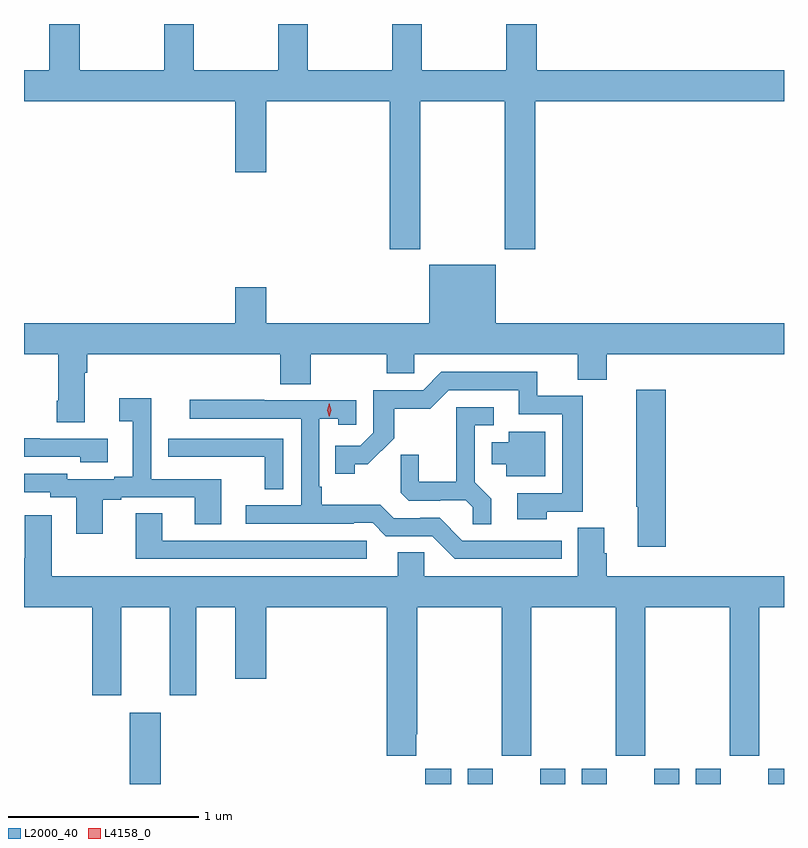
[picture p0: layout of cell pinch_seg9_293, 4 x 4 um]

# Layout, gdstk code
import gdstk
lib = gdstk.Library(unit=1e-6, precision=1e-09)
def R(c, l, rs):  # rectangles x0, y0, x1, y1
    for r in rs: c.add(gdstk.rectangle(r[:2], r[2:], *l))
def P(c, l, *ps):  # polygons
    for p in ps: c.add(gdstk.Polygon(p, *l))
L2000_40 = (2000, 40)
L4158_0 = (4158, 0)

pinch_seg9_293 = lib.new_cell('pinch_seg9_293')
R(pinch_seg9_293, L2000_40, [(512.105,1198.155,512.269,1198.531), (513.659,1198.155,513.796,1198.234), (513.884,1198.155,514.015,1198.234), (514.265,1198.155,514.396,1198.234), (514.484,1198.155,514.615,1198.234), (514.865,1198.155,514.996,1198.234), (515.084,1198.155,515.215,1198.234), (515.465,1198.155,515.548,1198.234)])
P(pinch_seg9_293, L2000_40, [(513.633,1201.748),(514.078,1201.748),(514.078,1200.969),(514.238,1200.969),(514.238,1201.748),(515.548,1201.748),(515.548,1201.912),(514.246,1201.912),(514.246,1202.155),(514.087,1202.155),(514.087,1201.912),(513.642,1201.912),(513.642,1202.155),(513.487,1202.155),(513.487,1201.912),(513.042,1201.912),(513.042,1202.155),(512.887,1202.155),(512.887,1201.912),(512.442,1201.912),(512.442,1202.155),(512.287,1202.155),(512.287,1201.912),(511.842,1201.912),(511.842,1202.155),(511.682,1202.155),(511.682,1201.912),(511.548,1201.912),(511.548,1201.748),(512.66,1201.748),(512.66,1201.374),(512.824,1201.374),(512.824,1201.748),(513.472,1201.748),(513.472,1200.969),(513.633,1200.969)],
  [(511.548,1200.416),(511.727,1200.416),(511.727,1200.172),(511.72,1200.172),(511.72,1200.06),(511.867,1200.06),(511.867,1200.32),(511.88,1200.32),(511.88,1200.416),(512.897,1200.416),(512.897,1200.259),(513.057,1200.259),(513.057,1200.416),(513.457,1200.416),(513.457,1200.318),(513.603,1200.318),(513.603,1200.416),(514.463,1200.416),(514.463,1200.283),(514.616,1200.283),(514.616,1200.416),(515.548,1200.416),(515.548,1200.58),(514.03,1200.58),(514.03,1200.889),(513.68,1200.889),(513.68,1200.58),(512.824,1200.58),(512.824,1200.769),(512.66,1200.769),(512.66,1200.58),(511.548,1200.58)],
  [(514.299,1199.589),(514.489,1199.589),(514.489,1200.198),(514.25,1200.198),(514.25,1200.324),(513.744,1200.324),(513.648,1200.228),(513.387,1200.228),(513.387,1200.003),(513.318,1199.934),(513.187,1199.934),(513.187,1199.787),(513.288,1199.787),(513.288,1199.837),(513.358,1199.837),(513.496,1199.974),(513.496,1200.13),(513.685,1200.13),(513.783,1200.228),(514.151,1200.228),(514.151,1200.102),(514.38,1200.102),(514.38,1199.685),(514.143,1199.685),(514.143,1199.549),(514.299,1199.549)],
  [(514.925,1200.229),(514.77,1200.229),(514.77,1199.615),(514.778,1199.615),(514.778,1199.403),(514.925,1199.403)],
  [(511.963,1199.652),(512.059,1199.652),(512.059,1199.664),(512.447,1199.664),(512.447,1199.521),(512.587,1199.521),(512.587,1199.76),(512.217,1199.76),(512.217,1200.184),(512.049,1200.184),(512.049,1200.064),(512.12,1200.064),(512.12,1199.773),(512.024,1199.773),(512.024,1199.76),(511.776,1199.76),(511.776,1199.787),(511.548,1199.787),(511.548,1199.691),(511.686,1199.691),(511.686,1199.664),(511.823,1199.664),(511.823,1199.472),(511.963,1199.472)],
  [(514.378,1199.436),(513.855,1199.436),(513.735,1199.556),(513.634,1199.556),(513.634,1199.553),(513.495,1199.553),(513.422,1199.626),(513.115,1199.626),(513.115,1199.719),(513.102,1199.719),(513.102,1200.077),(513.201,1200.077),(513.201,1200.045),(513.297,1200.045),(513.297,1200.174),(512.813,1200.174),(512.813,1200.177),(512.421,1200.177),(512.421,1200.078),(513.006,1200.078),(513.006,1199.622),(512.715,1199.622),(512.715,1199.526),(513.284,1199.526),(513.284,1199.529),(513.384,1199.529),(513.453,1199.46),(513.696,1199.46),(513.816,1199.34),(514.378,1199.34)],
  [(514.007,1199.657),(513.921,1199.743),(513.921,1200.042),(514.02,1200.042),(514.02,1200.138),(513.824,1200.138),(513.824,1199.746),(513.626,1199.746),(513.626,1199.889),(513.532,1199.889),(513.532,1199.687),(513.573,1199.646),(513.738,1199.646),(513.738,1199.649),(513.872,1199.649),(513.909,1199.612),(513.909,1199.521),(514.007,1199.521)],
  [(514.291,1200.01),(514.1,1200.01),(514.1,1199.953),(514.01,1199.953),(514.01,1199.837),(514.085,1199.837),(514.085,1199.774),(514.291,1199.774)],
  [(511.99,1199.973),(511.631,1199.973),(511.631,1199.976),(511.548,1199.976),(511.548,1199.877),(511.845,1199.877),(511.845,1199.849),(511.99,1199.849)],
  [(512.913,1199.973),(512.307,1199.973),(512.307,1199.878),(512.419,1199.878),(512.419,1199.877),(512.815,1199.877),(512.815,1199.707),(512.913,1199.707)],
  [(513.352,1199.436),(512.275,1199.436),(512.275,1199.579),(512.135,1199.579),(512.135,1199.34),(513.352,1199.34)],
  [(513.613,1198.417),(513.618,1198.417),(513.618,1199.084),(514.063,1199.084),(514.063,1198.305),(514.218,1198.305),(514.218,1199.084),(514.663,1199.084),(514.663,1198.305),(514.818,1198.305),(514.818,1199.084),(515.263,1199.084),(515.263,1198.305),(515.418,1198.305),(515.418,1199.084),(515.548,1199.084),(515.548,1199.248),(514.616,1199.248),(514.616,1199.37),(514.603,1199.37),(514.603,1199.504),(514.463,1199.504),(514.463,1199.248),(513.654,1199.248),(513.654,1199.375),(513.515,1199.375),(513.515,1199.248),(511.693,1199.248),(511.693,1199.569),(511.553,1199.569),(511.553,1199.344),(511.548,1199.344),(511.548,1199.084),(511.907,1199.084),(511.907,1198.623),(512.059,1198.623),(512.059,1199.084),(512.315,1199.084),(512.315,1198.623),(512.455,1198.623),(512.455,1199.084),(512.66,1199.084),(512.66,1198.71),(512.824,1198.71),(512.824,1199.084),(513.458,1199.084),(513.458,1198.305),(513.613,1198.305)])
P(pinch_seg9_293, L4158_0, [(513.154,1200.087),(513.154,1200.087),(513.144,1200.123),(513.155,1200.159),(513.155,1200.159),(513.155,1200.159),(513.164,1200.123),(513.154,1200.087)])

lib.write_gds('pinch_seg9_293.gds')
